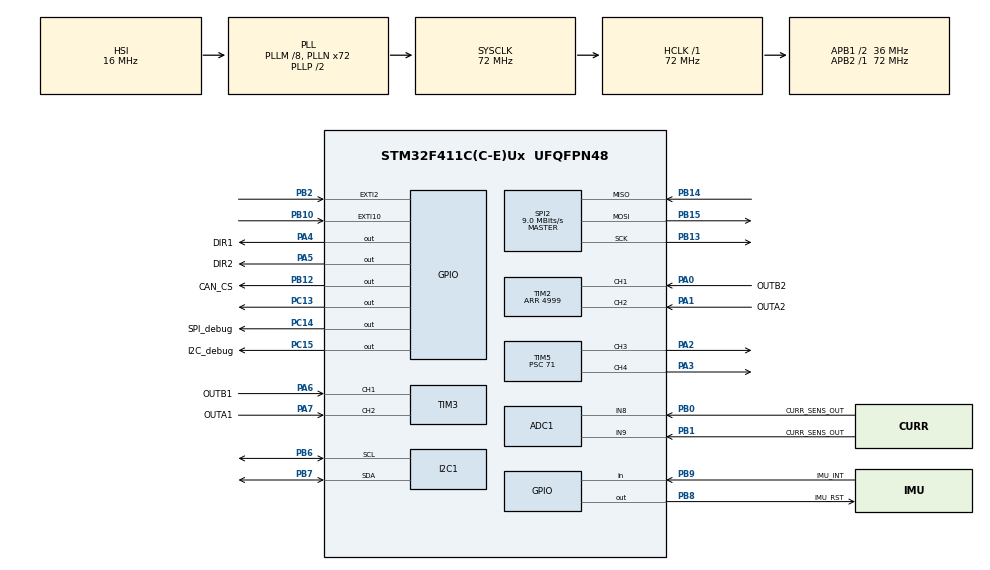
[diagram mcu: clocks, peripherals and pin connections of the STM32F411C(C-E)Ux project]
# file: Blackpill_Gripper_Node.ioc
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ADC1.Channel-0\#ChannelRegularConversion=ADC_CHANNEL_8
ADC1.Channel-1\#ChannelRegularConversion=ADC_CHANNEL_9
ADC1.ContinuousConvMode=ENABLE
ADC1.DMAContinuousRequests=ENABLE
ADC1.DiscontinuousConvMode=DISABLE
ADC1.NbrOfConversion=2
ADC1.NbrOfConversionFlag=1
ADC1.Rank-0\#ChannelRegularConversion=1
ADC1.Rank-1\#ChannelRegularConversion=2
ADC1.SamplingTime-0\#ChannelRegularConversion=ADC_SAMPLETIME_3CYCLES
ADC1.SamplingTime-1\#ChannelRegularConversion=ADC_SAMPLETIME_3CYCLES
ADC1.ScanConvMode=ENABLE
ADC1.master=1
Dma.ADC1.2.Direction=DMA_PERIPH_TO_MEMORY
Dma.ADC1.2.FIFOMode=DMA_FIFOMODE_DISABLE
Dma.ADC1.2.Instance=DMA2_Stream0
Dma.ADC1.2.MemDataAlignment=DMA_MDATAALIGN_HALFWORD
Dma.ADC1.2.MemInc=DMA_MINC_ENABLE
Dma.ADC1.2.Mode=DMA_CIRCULAR
Dma.ADC1.2.PeriphDataAlignment=DMA_PDATAALIGN_HALFWORD
Dma.ADC1.2.PeriphInc=DMA_PINC_DISABLE
Dma.ADC1.2.Priority=DMA_PRIORITY_LOW
Dma.I2C1_RX.0.Direction=DMA_PERIPH_TO_MEMORY
Dma.I2C1_RX.0.FIFOMode=DMA_FIFOMODE_DISABLE
Dma.I2C1_RX.0.Instance=DMA1_Stream0
Dma.I2C1_RX.0.MemDataAlignment=DMA_MDATAALIGN_BYTE
Dma.I2C1_RX.0.MemInc=DMA_MINC_ENABLE
Dma.I2C1_RX.0.Mode=DMA_NORMAL
Dma.I2C1_RX.0.PeriphDataAlignment=DMA_PDATAALIGN_BYTE
Dma.I2C1_RX.0.PeriphInc=DMA_PINC_DISABLE
Dma.I2C1_RX.0.Priority=DMA_PRIORITY_LOW
Dma.I2C1_TX.1.Direction=DMA_MEMORY_TO_PERIPH
Dma.I2C1_TX.1.FIFOMode=DMA_FIFOMODE_DISABLE
Dma.I2C1_TX.1.Instance=DMA1_Stream1
Dma.I2C1_TX.1.MemDataAlignment=DMA_MDATAALIGN_BYTE
Dma.I2C1_TX.1.MemInc=DMA_MINC_ENABLE
Dma.I2C1_TX.1.Mode=DMA_NORMAL
Dma.I2C1_TX.1.PeriphDataAlignment=DMA_PDATAALIGN_BYTE
Dma.I2C1_TX.1.PeriphInc=DMA_PINC_DISABLE
Dma.I2C1_TX.1.Priority=DMA_PRIORITY_LOW
Dma.Request0=I2C1_RX
Dma.Request1=I2C1_TX
Dma.Request2=ADC1
Mcu.Family=STM32F4
Mcu.Name=STM32F411C(C-E)Ux
Mcu.Package=UFQFPN48
NVIC.DMA1_Stream0_IRQn=true\:0\:0\:false\:false\:true\:false\:true\:true
NVIC.DMA1_Stream1_IRQn=true\:0\:0\:false\:false\:true\:false\:true\:true
NVIC.DMA2_Stream0_IRQn=true\:0\:0\:false\:false\:true\:false\:true\:true
NVIC.EXTI15_10_IRQn=true\:0\:0\:false\:false\:true\:true\:true\:true
NVIC.EXTI2_IRQn=true\:0\:0\:false\:false\:true\:true\:true\:true
NVIC.PriorityGroup=NVIC_PRIORITYGROUP_4
PA0-WKUP.GPIO_Label=OUTB2
PA0-WKUP.Signal=S_TIM2_CH1_ETR
PA1.GPIO_Label=OUTA2
PA1.Signal=S_TIM2_CH2
PA2.Signal=S_TIM5_CH3
PA3.Signal=S_TIM5_CH4
PA4.GPIO_Label=DIR1
PA4.Signal=GPIO_Output
PA5.GPIO_Label=DIR2
PA5.Signal=GPIO_Output
PA6.GPIO_Label=OUTB1
PA6.Signal=S_TIM3_CH1
PA7.GPIO_Label=OUTA1
PA7.Signal=S_TIM3_CH2
PB0.GPIO_Label=CURR_SENS_OUT
PB0.Signal=ADCx_IN8
PB1.GPIO_Label=CURR_SENS_OUT
PB1.Signal=ADCx_IN9
PB10.GPIO_ModeDefaultEXTI=GPIO_MODE_IT_RISING_FALLING
PB10.Signal=GPXTI10
PB12.GPIO_Label=CAN_CS
PB12.Signal=GPIO_Output
PB13.Mode=Full_Duplex_Master
PB13.Signal=SPI2_SCK
PB14.Mode=Full_Duplex_Master
PB14.Signal=SPI2_MISO
PB15.Mode=Full_Duplex_Master
PB15.Signal=SPI2_MOSI
PB2.GPIO_ModeDefaultEXTI=GPIO_MODE_IT_RISING_FALLING
PB2.Signal=GPXTI2
PB6.Mode=I2C
PB6.Signal=I2C1_SCL
PB7.Mode=I2C
PB7.Signal=I2C1_SDA
PB8.GPIO_Label=IMU_RST
PB8.Signal=GPIO_Output
PB9.GPIO_Label=IMU_INT
PB9.Signal=GPIO_Input
PC13-ANTI_TAMP.Signal=GPIO_Output
PC14-OSC32_IN.GPIO_Label=SPI_debug
PC14-OSC32_IN.Signal=GPIO_Output
PC15-OSC32_OUT.GPIO_Label=I2C_debug
PC15-OSC32_OUT.Signal=GPIO_Output
PH0\ -\ OSC_IN.Mode=HSE-External-Oscillator
PH0\ -\ OSC_IN.Signal=RCC_OSC_IN
PH1\ -\ OSC_OUT.Mode=HSE-External-Oscillator
PH1\ -\ OSC_OUT.Signal=RCC_OSC_OUT
ProjectManager.HeapSize=0x200
ProjectManager.StackSize=0x400
ProjectManager.TargetToolchain=STM32CubeIDE
RCC.48MHZClocksFreq_Value=36000000
RCC.AHBFreq_Value=72000000
RCC.APB1CLKDivider=RCC_HCLK_DIV2
RCC.APB1Freq_Value=36000000
RCC.APB1TimFreq_Value=72000000
RCC.APB2Freq_Value=72000000
RCC.APB2TimFreq_Value=72000000
RCC.CortexFreq_Value=72000000
RCC.HCLKFreq_Value=72000000
RCC.HSE_VALUE=25000000
RCC.HSI_VALUE=16000000
RCC.LSE_VALUE=32768
RCC.PLLM=8
RCC.PLLN=72
RCC.SYSCLKFreq_VALUE=72000000
RCC.SYSCLKSource=RCC_SYSCLKSOURCE_PLLCLK
RCC.VCOOutputFreq_Value=144000000
SH.ADCx_IN8.0=ADC1_IN8,IN8
SH.ADCx_IN9.0=ADC1_IN9,IN9
SH.S_TIM2_CH1_ETR.0=TIM2_CH1,Encoder_Interface
SH.S_TIM2_CH2.0=TIM2_CH2,Encoder_Interface
SH.S_TIM3_CH1.0=TIM3_CH1,Encoder_Interface
SH.S_TIM3_CH2.0=TIM3_CH2,Encoder_Interface
SH.S_TIM5_CH3.0=TIM5_CH3,PWM Generation3 CH3
SH.S_TIM5_CH4.0=TIM5_CH4,PWM Generation4 CH4
SPI2.BaudRatePrescaler=SPI_BAUDRATEPRESCALER_4
SPI2.CalculateBaudRate=9.0 MBits/s
SPI2.Direction=SPI_DIRECTION_2LINES
SPI2.Mode=SPI_MODE_MASTER
SPI2.VirtualType=VM_MASTER
TIM1.Prescaler=71
TIM2.Period=4999
TIM5.Channel-PWM\ Generation3\ CH3=TIM_CHANNEL_3
TIM5.Channel-PWM\ Generation4\ CH4=TIM_CHANNEL_4
TIM5.Period=999
TIM5.Prescaler=71
VP_TIM1_VS_ClockSourceINT.Mode=Internal
VP_TIM5_VS_ClockSourceINT.Mode=Internal
board=custom

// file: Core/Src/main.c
/* USER CODE BEGIN Header */
/**
  ******************************************************************************
  * @file           : main.c
  * @brief          : Main program body
  ******************************************************************************
  * @attention
  *
  * Copyright (c) 2026 STMicroelectronics.
  * All rights reserved.
  *
  * This software is licensed under terms that can be found in the LICENSE file
  * in the root directory of this software component.
  * If no LICENSE file comes with this software, it is provided AS-IS.
  *
  ******************************************************************************
  */
/* USER CODE END Header */
#include "main.h"

/* USER CODE BEGIN Includes */
#include <stdlib.h>
#include <stdio.h>
#include <string.h>
#include <stdbool.h>
/*
 * MCP2515-over-SPI2 driver, same library used by the rest of the rover's
 * CAN nodes. Provides uCAN_MSG, dSTANDARD_CAN_MSG_ID_2_0B, and
 * CANSPI_Initialize/Transmit/Receive().
 */
#include "CANSPI.h"
#include "MCP2515.h"
/* USER CODE END Includes */

/* USER CODE BEGIN PD */
/*
 * ---- CAN arbitration IDs ----
 * Same scheme as the other STM32 nodes: (node << 5) | msg, 5-bit msg type.
 * msg-type values are the wrist node's set.
 */
#define gripper 10

#define CAN_FAIL 10000

#define SENSOR_DATA   0b00010  /* SEND QUAD/CURRENT DATAS */
#define SENSORS_CHECK 0b11111  /* SENSOR CHECK AT BEGINNING */

#define HEARTBEAT     0b00000  /* HEARTBEAT RECEIVED */
#define HEARTBEATED   0b00001  /* HEARTBEAT SENT */

#define GRIPPER_PWM   0b10010  /* GRIPPER COMMAND TO BE RECEIVED */
#define START_NODE    0b10100  /* NODE START COMMAND */

#define MAKE_ARBITRATION_ID(node, msg) (((node) << 5) | (msg))

#define gripper_command_msg  MAKE_ARBITRATION_ID(gripper, GRIPPER_PWM)
#define sensor_data_msg      MAKE_ARBITRATION_ID(gripper, SENSOR_DATA)
#define heartbeat_msg        MAKE_ARBITRATION_ID(gripper, HEARTBEAT)
#define heartbeated_msg      MAKE_ARBITRATION_ID(gripper, HEARTBEATED)
#define start_node_msg       MAKE_ARBITRATION_ID(gripper, START_NODE)
#define sensor_check_msg     MAKE_ARBITRATION_ID(gripper, SENSORS_CHECK)

/* Watchdog: if this many main-loop iterations pass with no CAN frame
 * received at all, assume the bus/supervisor is gone, zero the outputs,
 * and require a fresh start_node handshake before actuating again. */
#define CAN_FAILED_THRESHOLD       CAN_FAIL

/* Sensor telemetry (GripperEncoders equivalent) broadcast period. */
#define SENSOR_BROADCAST_PERIOD_MS 50U

/* PWM: TIM5 CH3 (PA2, N20) as configured in the .ioc:
 * 72MHz APB1 timer clock, PSC=71 -> 1MHz (1us/tick), ARR=999 -> 1kHz.
 * Servo (PA3) runs on TIM9 CH2 (AF3), set up in Servo_Init(): 72MHz APB2
 * timer clock, PSC=71 -> 1us/tick, ARR=19999 -> 50Hz, pulse 1000-2000us.
 */
#define PWM_PERIOD_TICKS           1000U  /* ARR+1 */
#define SERVO_MIN_US               1000U
#define SERVO_MAX_US               2000U
#define SERVO_PERIOD_TICKS         20000U /* ARR+1, 50Hz at 1us/tick */
/* USER CODE END PD */

ADC_HandleTypeDef hadc1;
DMA_HandleTypeDef hdma_adc1;

I2C_HandleTypeDef hi2c1;
DMA_HandleTypeDef hdma_i2c1_rx;
DMA_HandleTypeDef hdma_i2c1_tx;

SPI_HandleTypeDef hspi2;

TIM_HandleTypeDef htim1;
TIM_HandleTypeDef htim2;
TIM_HandleTypeDef htim3;
TIM_HandleTypeDef htim5;

/* USER CODE BEGIN PV */
/*
 * Gripper CAN protocol (matches gripperrr.py's GripperPositionCommand /
 * GripperEncoders exactly):
 *
 * ROS -> STM32 (gripper_command_msg, dlc=2 or 3):
 *   data0 = dcm1  N20 motor command, 0-255 raw byte  -> TIM5_CH3 (PA2)
 *   data1 = dcm2  Servo command,     0-255 raw byte  -> TIM9_CH2 (PA3), 1-2ms pulse at 50Hz
 *   data2 = N20 direction, optional (dlc>=3): 0 = forward, non-zero = reverse -> DIR1 (PA4).
 *           With dlc=2 the direction stays forward (0).
 *
 * STM32 -> ROS (sensor_data_msg, dlc=5, every SENSOR_BROADCAST_PERIOD_MS):
 *   data0 = quad_1     TIM2 quadrature encoder (PA0/PA1), low byte of count
 *   data1 = quad_2     TIM3 quadrature encoder (PA6/PA7), low byte of count
 *   data2 = acs_1      ADC1 ch8 (PB0) current sensor, low byte (12-bit)
 *   data3 = acs_2      ADC1 ch9 (PB1) current sensor, low byte (12-bit)
 *   data4 = up_check   always 0 - no discrete status/limit-switch bits
 *                      are defined for this node
 */
volatile uint8_t dcm1 = 0;    /* N20 motor command, 0-255 */
volatile uint8_t dcm2 = 128;  /* Servo command, 0-255, ~center on boot */

volatile uint16_t adc_buf[2];

uCAN_MSG rx;
uCAN_MSG tx_heartbeat;
uCAN_MSG tx_sensor;

volatile bool beat_pls = false;
volatile uint8_t heartbeater = 0;

volatile bool start_node = false;
volatile bool start_node_init = false;
volatile uint32_t CAN_failed_counter = 0;

bool CAN_checker = false;
uint32_t lastSensorBroadcastTick = 0;

TIM_HandleTypeDef htim9;       /* servo, TIM9 CH2 on PA3 */
static uint8_t n20_dir = 0;    /* current N20 direction, mirrors PA4 */
/* USER CODE END PV */

void SystemClock_Config(void);
static void MX_GPIO_Init(void);
static void MX_DMA_Init(void);
static void MX_ADC1_Init(void);
static void MX_I2C1_Init(void);
static void MX_SPI2_Init(void);
static void MX_TIM2_Init(void);
static void MX_TIM3_Init(void);
static void MX_TIM5_Init(void);
static void MX_TIM1_Init(void);
/* USER CODE BEGIN PFP */
static void CAN_Heartbeat(void);
static void CAN_Send_SensorData(void);
static void CAN_Send_SensorCheck(void);
static uint16_t cast_to_arbid(uint16_t id);
static void delay_us(uint16_t us);
static void ApplyGripperCommand(uint8_t motorByte, uint8_t servoByte, uint8_t dir);
static void Servo_Init(void);
/* USER CODE END PFP */

int main(void)
{

  /* MCU Configuration--------------------------------------------------------*/

  /* Reset of all peripherals, Initializes the Flash interface and the Systick. */
  HAL_Init();

  /* Configure the system clock */
  SystemClock_Config();

  /* Initialize all configured peripherals */
  MX_GPIO_Init();
  MX_DMA_Init();
  MX_ADC1_Init();
  MX_I2C1_Init();
  MX_SPI2_Init();
  MX_TIM2_Init();
  MX_TIM3_Init();
  MX_TIM5_Init();
  MX_TIM1_Init();
  /* USER CODE BEGIN 2 */
  HAL_TIM_Base_Start(&htim1);                 /* free-running us tick for delay_us() */

  HAL_TIM_PWM_Start(&htim5, TIM_CHANNEL_3);   /* PWM_N20  */
  Servo_Init();                               /* PWM_SERVO on TIM9 CH2 (PA3), 50Hz */
  HAL_TIM_Encoder_Start(&htim2, TIM_CHANNEL_ALL);
  HAL_TIM_Encoder_Start(&htim3, TIM_CHANNEL_ALL);

  /* Boot-time CAN init, with a PC13 (onboard BlackPill LED) blink so a
   * failure is visible without a debugger attached. */
  HAL_GPIO_WritePin(GPIOC, GPIO_PIN_13, GPIO_PIN_RESET);
  HAL_Delay(100);
  HAL_GPIO_WritePin(GPIOC, GPIO_PIN_13, GPIO_PIN_SET);
  HAL_Delay(100);

  CAN_checker = CANSPI_Initialize();

  HAL_GPIO_WritePin(GPIOC, GPIO_PIN_13, GPIO_PIN_RESET);
  HAL_Delay(100);
  HAL_GPIO_WritePin(GPIOC, GPIO_PIN_13, GPIO_PIN_SET);
  HAL_Delay(100);

  HAL_ADC_Start_DMA(&hadc1, (uint32_t*)adc_buf, 2);
  __HAL_DMA_DISABLE_IT(hadc1.DMA_Handle, DMA_IT_TC | DMA_IT_HT | DMA_IT_TE);

  lastSensorBroadcastTick = HAL_GetTick();
  /* USER CODE END 2 */

  /* Infinite loop */
  while (1)
  {

    /* USER CODE BEGIN 3 */

    /* ---- CAN watchdog: silent bus/supervisor -> fail safe ---- */
    if (CAN_failed_counter >= CAN_FAILED_THRESHOLD)
    {
      __HAL_TIM_SET_COMPARE(&htim5, TIM_CHANNEL_3, 0);
      __HAL_TIM_SET_COMPARE(&htim9, TIM_CHANNEL_2, 0);
      HAL_GPIO_WritePin(GPIOA, GPIO_PIN_4, GPIO_PIN_RESET);
      HAL_GPIO_WritePin(GPIOA, GPIO_PIN_5, GPIO_PIN_RESET);
      n20_dir = 0;
      dcm1 = 0;
      start_node = false;
    }

    /* ---- start_node handshake ----
     * Block here (blinking PC13) until the supervisor sends start_node_msg,
     * or answer sensor_check_msg while waiting. */
    if (!start_node)
    {
      HAL_Delay(500);
      HAL_GPIO_WritePin(GPIOC, GPIO_PIN_13, GPIO_PIN_RESET);
      HAL_Delay(100);
      HAL_GPIO_WritePin(GPIOC, GPIO_PIN_13, GPIO_PIN_SET);
      HAL_Delay(100);
      while (!CANSPI_Receive(&rx)) {}
      if (cast_to_arbid(rx.frame.id) == start_node_msg)
      {
        HAL_GPIO_WritePin(GPIOC, GPIO_PIN_13, GPIO_PIN_RESET);
        HAL_Delay(100);
        HAL_GPIO_WritePin(GPIOC, GPIO_PIN_13, GPIO_PIN_SET);
        HAL_Delay(100);
        start_node = true;
        start_node_init = true;
        delay_us(50);
      }
      else if (cast_to_arbid(rx.frame.id) == sensor_check_msg)
      {
        CAN_Send_SensorCheck();
      }
      else if (start_node_init)
      {
        start_node = true;
      }
    }

    /* ---- periodic sensor telemetry (GripperEncoders source) ---- */
    if (start_node && (HAL_GetTick() - lastSensorBroadcastTick) >= SENSOR_BROADCAST_PERIOD_MS)
    {
      lastSensorBroadcastTick = HAL_GetTick();
      CAN_Send_SensorData();
    }

    /* ---- normal-operation CAN receive dispatch ---- */
    if (CANSPI_Receive(&rx))
    {
      CAN_failed_counter = 0;

      if (start_node && cast_to_arbid(rx.frame.id) == gripper_command_msg)
      {
        ApplyGripperCommand(rx.frame.data0, rx.frame.data1,
                            (rx.frame.dlc >= 3 && rx.frame.data2) ? 1 : 0);
      }
      else if (cast_to_arbid(rx.frame.id) == heartbeat_msg)
      {
        /* Echo a heartbeat derived from the supervisor's ping. */
        heartbeater = rx.frame.data0 + rx.frame.data1;
        beat_pls = true;
        CAN_Heartbeat();
      }
    }

    CAN_failed_counter++;
    delay_us(100);
  }
  /* USER CODE END 3 */
}

void SystemClock_Config(void)
{
  RCC_OscInitTypeDef RCC_OscInitStruct = {0};
  RCC_ClkInitTypeDef RCC_ClkInitStruct = {0};

  /** Configure the main internal regulator output voltage
  */
  __HAL_RCC_PWR_CLK_ENABLE();
  __HAL_PWR_VOLTAGESCALING_CONFIG(PWR_REGULATOR_VOLTAGE_SCALE1);

  /** Initializes the RCC Oscillators according to the specified parameters
  * in the RCC_OscInitTypeDef structure.
  */
  RCC_OscInitStruct.OscillatorType = RCC_OSCILLATORTYPE_HSI;
  RCC_OscInitStruct.HSIState = RCC_HSI_ON;
  RCC_OscInitStruct.HSICalibrationValue = RCC_HSICALIBRATION_DEFAULT;
  RCC_OscInitStruct.PLL.PLLState = RCC_PLL_ON;
  RCC_OscInitStruct.PLL.PLLSource = RCC_PLLSOURCE_HSI;
  RCC_OscInitStruct.PLL.PLLM = 8;
  RCC_OscInitStruct.PLL.PLLN = 72;
  RCC_OscInitStruct.PLL.PLLP = RCC_PLLP_DIV2;
  RCC_OscInitStruct.PLL.PLLQ = 4;
  if (HAL_RCC_OscConfig(&RCC_OscInitStruct) != HAL_OK)
  {
    Error_Handler();
  }

  /** Initializes the CPU, AHB and APB buses clocks
  */
  RCC_ClkInitStruct.ClockType = RCC_CLOCKTYPE_HCLK|RCC_CLOCKTYPE_SYSCLK
                              |RCC_CLOCKTYPE_PCLK1|RCC_CLOCKTYPE_PCLK2;
  RCC_ClkInitStruct.SYSCLKSource = RCC_SYSCLKSOURCE_PLLCLK;
  RCC_ClkInitStruct.AHBCLKDivider = RCC_SYSCLK_DIV1;
  RCC_ClkInitStruct.APB1CLKDivider = RCC_HCLK_DIV2;
  RCC_ClkInitStruct.APB2CLKDivider = RCC_HCLK_DIV1;

  if (HAL_RCC_ClockConfig(&RCC_ClkInitStruct, FLASH_LATENCY_2) != HAL_OK)
  {
    Error_Handler();
  }
}

static void MX_ADC1_Init(void)
{

  ADC_ChannelConfTypeDef sConfig = {0};

  /** Configure the global features of the ADC (Clock, Resolution, Data Alignment and number of conversion)
  */
  hadc1.Instance = ADC1;
  hadc1.Init.ClockPrescaler = ADC_CLOCK_SYNC_PCLK_DIV2;
  hadc1.Init.Resolution = ADC_RESOLUTION_12B;
  hadc1.Init.ScanConvMode = ENABLE;
  hadc1.Init.ContinuousConvMode = ENABLE;
  hadc1.Init.DiscontinuousConvMode = DISABLE;
  hadc1.Init.ExternalTrigConvEdge = ADC_EXTERNALTRIGCONVEDGE_NONE;
  hadc1.Init.ExternalTrigConv = ADC_SOFTWARE_START;
  hadc1.Init.DataAlign = ADC_DATAALIGN_RIGHT;
  hadc1.Init.NbrOfConversion = 2;
  hadc1.Init.DMAContinuousRequests = ENABLE;
  hadc1.Init.EOCSelection = ADC_EOC_SINGLE_CONV;
  if (HAL_ADC_Init(&hadc1) != HAL_OK)
  {
    Error_Handler();
  }

  /** Configure for the selected ADC regular channel its corresponding rank in the sequencer and its sample time.
  */
  sConfig.Channel = ADC_CHANNEL_8;
  sConfig.Rank = 1;
  sConfig.SamplingTime = ADC_SAMPLETIME_3CYCLES;
  if (HAL_ADC_ConfigChannel(&hadc1, &sConfig) != HAL_OK)
  {
    Error_Handler();
  }

  /** Configure for the selected ADC regular channel its corresponding rank in the sequencer and its sample time.
  */
  sConfig.Channel = ADC_CHANNEL_9;
  sConfig.Rank = 2;
  if (HAL_ADC_ConfigChannel(&hadc1, &sConfig) != HAL_OK)
  {
    Error_Handler();
  }

}

static void MX_I2C1_Init(void)
{

  hi2c1.Instance = I2C1;
  hi2c1.Init.ClockSpeed = 100000;
  hi2c1.Init.DutyCycle = I2C_DUTYCYCLE_2;
  hi2c1.Init.OwnAddress1 = 0;
  hi2c1.Init.AddressingMode = I2C_ADDRESSINGMODE_7BIT;
  hi2c1.Init.DualAddressMode = I2C_DUALADDRESS_DISABLE;
  hi2c1.Init.OwnAddress2 = 0;
  hi2c1.Init.GeneralCallMode = I2C_GENERALCALL_DISABLE;
  hi2c1.Init.NoStretchMode = I2C_NOSTRETCH_DISABLE;
  if (HAL_I2C_Init(&hi2c1) != HAL_OK)
  {
    Error_Handler();
  }

}

static void MX_SPI2_Init(void)
{

  /* SPI2 parameter configuration*/
  hspi2.Instance = SPI2;
  hspi2.Init.Mode = SPI_MODE_MASTER;
  hspi2.Init.Direction = SPI_DIRECTION_2LINES;
  hspi2.Init.DataSize = SPI_DATASIZE_8BIT;
  hspi2.Init.CLKPolarity = SPI_POLARITY_LOW;
  hspi2.Init.CLKPhase = SPI_PHASE_1EDGE;
  hspi2.Init.NSS = SPI_NSS_SOFT;
  hspi2.Init.BaudRatePrescaler = SPI_BAUDRATEPRESCALER_4;
  hspi2.Init.FirstBit = SPI_FIRSTBIT_MSB;
  hspi2.Init.TIMode = SPI_TIMODE_DISABLE;
  hspi2.Init.CRCCalculation = SPI_CRCCALCULATION_DISABLE;
  hspi2.Init.CRCPolynomial = 10;
  if (HAL_SPI_Init(&hspi2) != HAL_OK)
  {
    Error_Handler();
  }

}

static void MX_TIM1_Init(void)
{

  TIM_ClockConfigTypeDef sClockSourceConfig = {0};
  TIM_MasterConfigTypeDef sMasterConfig = {0};

  htim1.Instance = TIM1;
  htim1.Init.Prescaler = 71;
  htim1.Init.CounterMode = TIM_COUNTERMODE_UP;
  htim1.Init.Period = 65535;
  htim1.Init.ClockDivision = TIM_CLOCKDIVISION_DIV1;
  htim1.Init.RepetitionCounter = 0;
  htim1.Init.AutoReloadPreload = TIM_AUTORELOAD_PRELOAD_DISABLE;
  if (HAL_TIM_Base_Init(&htim1) != HAL_OK)
  {
    Error_Handler();
  }
  sClockSourceConfig.ClockSource = TIM_CLOCKSOURCE_INTERNAL;
  if (HAL_TIM_ConfigClockSource(&htim1, &sClockSourceConfig) != HAL_OK)
  {
    Error_Handler();
  }
  sMasterConfig.MasterOutputTrigger = TIM_TRGO_RESET;
  sMasterConfig.MasterSlaveMode = TIM_MASTERSLAVEMODE_DISABLE;
  if (HAL_TIMEx_MasterConfigSynchronization(&htim1, &sMasterConfig) != HAL_OK)
  {
    Error_Handler();
  }

}

static void MX_TIM2_Init(void)
{

  TIM_Encoder_InitTypeDef sConfig = {0};
  TIM_MasterConfigTypeDef sMasterConfig = {0};

  htim2.Instance = TIM2;
  htim2.Init.Prescaler = 0;
  htim2.Init.CounterMode = TIM_COUNTERMODE_UP;
  htim2.Init.Period = 4999;
  htim2.Init.ClockDivision = TIM_CLOCKDIVISION_DIV1;
  htim2.Init.AutoReloadPreload = TIM_AUTORELOAD_PRELOAD_DISABLE;
  sConfig.EncoderMode = TIM_ENCODERMODE_TI1;
  sConfig.IC1Polarity = TIM_ICPOLARITY_RISING;
  sConfig.IC1Selection = TIM_ICSELECTION_DIRECTTI;
  sConfig.IC1Prescaler = TIM_ICPSC_DIV1;
  sConfig.IC1Filter = 0;
  sConfig.IC2Polarity = TIM_ICPOLARITY_RISING;
  sConfig.IC2Selection = TIM_ICSELECTION_DIRECTTI;
  sConfig.IC2Prescaler = TIM_ICPSC_DIV1;
  sConfig.IC2Filter = 0;
  if (HAL_TIM_Encoder_Init(&htim2, &sConfig) != HAL_OK)
  {
    Error_Handler();
  }
  sMasterConfig.MasterOutputTrigger = TIM_TRGO_RESET;
  sMasterConfig.MasterSlaveMode = TIM_MASTERSLAVEMODE_DISABLE;
  if (HAL_TIMEx_MasterConfigSynchronization(&htim2, &sMasterConfig) != HAL_OK)
  {
    Error_Handler();
  }

}

static void MX_TIM3_Init(void)
{

  TIM_Encoder_InitTypeDef sConfig = {0};
  TIM_MasterConfigTypeDef sMasterConfig = {0};

  htim3.Instance = TIM3;
  htim3.Init.Prescaler = 0;
  htim3.Init.CounterMode = TIM_COUNTERMODE_UP;
  htim3.Init.Period = 65535;
  htim3.Init.ClockDivision = TIM_CLOCKDIVISION_DIV1;
  htim3.Init.AutoReloadPreload = TIM_AUTORELOAD_PRELOAD_DISABLE;
  sConfig.EncoderMode = TIM_ENCODERMODE_TI1;
  sConfig.IC1Polarity = TIM_ICPOLARITY_RISING;
  sConfig.IC1Selection = TIM_ICSELECTION_DIRECTTI;
  sConfig.IC1Prescaler = TIM_ICPSC_DIV1;
  sConfig.IC1Filter = 0;
  sConfig.IC2Polarity = TIM_ICPOLARITY_RISING;
  sConfig.IC2Selection = TIM_ICSELECTION_DIRECTTI;
  sConfig.IC2Prescaler = TIM_ICPSC_DIV1;
  sConfig.IC2Filter = 0;
  if (HAL_TIM_Encoder_Init(&htim3, &sConfig) != HAL_OK)
  {
    Error_Handler();
  }
  sMasterConfig.MasterOutputTrigger = TIM_TRGO_RESET;
  sMasterConfig.MasterSlaveMode = TIM_MASTERSLAVEMODE_DISABLE;
  if (HAL_TIMEx_MasterConfigSynchronization(&htim3, &sMasterConfig) != HAL_OK)
  {
    Error_Handler();
  }

}

static void MX_TIM5_Init(void)
{

  TIM_ClockConfigTypeDef sClockSourceConfig = {0};
  TIM_MasterConfigTypeDef sMasterConfig = {0};
  TIM_OC_InitTypeDef sConfigOC = {0};

  htim5.Instance = TIM5;
  htim5.Init.Prescaler = 71;
  htim5.Init.CounterMode = TIM_COUNTERMODE_UP;
  htim5.Init.Period = 999;
  htim5.Init.ClockDivision = TIM_CLOCKDIVISION_DIV1;
  htim5.Init.AutoReloadPreload = TIM_AUTORELOAD_PRELOAD_DISABLE;
  if (HAL_TIM_Base_Init(&htim5) != HAL_OK)
  {
    Error_Handler();
  }
  sClockSourceConfig.ClockSource = TIM_CLOCKSOURCE_INTERNAL;
  if (HAL_TIM_ConfigClockSource(&htim5, &sClockSourceConfig) != HAL_OK)
  {
    Error_Handler();
  }
  if (HAL_TIM_PWM_Init(&htim5) != HAL_OK)
  {
    Error_Handler();
  }
  sMasterConfig.MasterOutputTrigger = TIM_TRGO_RESET;
  sMasterConfig.MasterSlaveMode = TIM_MASTERSLAVEMODE_DISABLE;
  if (HAL_TIMEx_MasterConfigSynchronization(&htim5, &sMasterConfig) != HAL_OK)
  {
    Error_Handler();
  }
  sConfigOC.OCMode = TIM_OCMODE_PWM1;
  sConfigOC.Pulse = 0;
  sConfigOC.OCPolarity = TIM_OCPOLARITY_HIGH;
  sConfigOC.OCFastMode = TIM_OCFAST_DISABLE;
  if (HAL_TIM_PWM_ConfigChannel(&htim5, &sConfigOC, TIM_CHANNEL_3) != HAL_OK)
  {
    Error_Handler();
  }
  if (HAL_TIM_PWM_ConfigChannel(&htim5, &sConfigOC, TIM_CHANNEL_4) != HAL_OK)
  {
    Error_Handler();
  }
  HAL_TIM_MspPostInit(&htim5);

}

static void MX_DMA_Init(void)
{

  /* DMA controller clock enable */
  __HAL_RCC_DMA1_CLK_ENABLE();
  __HAL_RCC_DMA2_CLK_ENABLE();

  /* DMA interrupt init */
  /* DMA1_Stream0_IRQn interrupt configuration */
  HAL_NVIC_SetPriority(DMA1_Stream0_IRQn, 0, 0);
  HAL_NVIC_EnableIRQ(DMA1_Stream0_IRQn);
  /* DMA1_Stream1_IRQn interrupt configuration */
  HAL_NVIC_SetPriority(DMA1_Stream1_IRQn, 0, 0);
  HAL_NVIC_EnableIRQ(DMA1_Stream1_IRQn);
  /* DMA2_Stream0_IRQn interrupt configuration */
  HAL_NVIC_SetPriority(DMA2_Stream0_IRQn, 0, 0);
  HAL_NVIC_EnableIRQ(DMA2_Stream0_IRQn);

}

static void MX_GPIO_Init(void)
{
  GPIO_InitTypeDef GPIO_InitStruct = {0};

  /* GPIO Ports Clock Enable */
  __HAL_RCC_GPIOC_CLK_ENABLE();
  __HAL_RCC_GPIOH_CLK_ENABLE();
  __HAL_RCC_GPIOA_CLK_ENABLE();
  __HAL_RCC_GPIOB_CLK_ENABLE();

  /*Configure GPIO pin Output Level */
  HAL_GPIO_WritePin(GPIOC, GPIO_PIN_13|SPI_debug_Pin|I2C_debug_Pin, GPIO_PIN_RESET);

  /*Configure GPIO pin Output Level */
  HAL_GPIO_WritePin(GPIOA, DIR1_Pin|DIR2_Pin, GPIO_PIN_RESET);

  /*Configure GPIO pin Output Level */
  HAL_GPIO_WritePin(GPIOB, CAN_CS_Pin|IMU_RST_Pin, GPIO_PIN_RESET);

  /*Configure GPIO pins : PC13 SPI_debug_Pin I2C_debug_Pin */
  GPIO_InitStruct.Pin = GPIO_PIN_13|SPI_debug_Pin|I2C_debug_Pin;
  GPIO_InitStruct.Mode = GPIO_MODE_OUTPUT_PP;
  GPIO_InitStruct.Pull = GPIO_NOPULL;
  GPIO_InitStruct.Speed = GPIO_SPEED_FREQ_LOW;
  HAL_GPIO_Init(GPIOC, &GPIO_InitStruct);

  /*Configure GPIO pins : DIR1_Pin DIR2_Pin */
  GPIO_InitStruct.Pin = DIR1_Pin|DIR2_Pin;
  GPIO_InitStruct.Mode = GPIO_MODE_OUTPUT_PP;
  GPIO_InitStruct.Pull = GPIO_NOPULL;
  GPIO_InitStruct.Speed = GPIO_SPEED_FREQ_LOW;
  HAL_GPIO_Init(GPIOA, &GPIO_InitStruct);

  /*Configure GPIO pins : PB2 PB10 */
  GPIO_InitStruct.Pin = GPIO_PIN_2|GPIO_PIN_10;
  GPIO_InitStruct.Mode = GPIO_MODE_IT_RISING_FALLING;
  GPIO_InitStruct.Pull = GPIO_NOPULL;
  HAL_GPIO_Init(GPIOB, &GPIO_InitStruct);

  /*Configure GPIO pins : CAN_CS_Pin IMU_RST_Pin */
  GPIO_InitStruct.Pin = CAN_CS_Pin|IMU_RST_Pin;
  GPIO_InitStruct.Mode = GPIO_MODE_OUTPUT_PP;
  GPIO_InitStruct.Pull = GPIO_NOPULL;
  GPIO_InitStruct.Speed = GPIO_SPEED_FREQ_LOW;
  HAL_GPIO_Init(GPIOB, &GPIO_InitStruct);

  /*Configure GPIO pin : IMU_INT_Pin */
  GPIO_InitStruct.Pin = IMU_INT_Pin;
  GPIO_InitStruct.Mode = GPIO_MODE_INPUT;
  GPIO_InitStruct.Pull = GPIO_NOPULL;
  HAL_GPIO_Init(IMU_INT_GPIO_Port, &GPIO_InitStruct);

  /* EXTI interrupt init*/
  HAL_NVIC_SetPriority(EXTI2_IRQn, 0, 0);
  HAL_NVIC_EnableIRQ(EXTI2_IRQn);

  HAL_NVIC_SetPriority(EXTI15_10_IRQn, 0, 0);
  HAL_NVIC_EnableIRQ(EXTI15_10_IRQn);

}

/* USER CODE BEGIN 4 */

/**
  * @brief  Sets up the servo output: TIM9 CH2 on PA3 (AF3), 50Hz, 1us/tick.
  *         Runs after MX_TIM5_Init(), so it takes PA3 over from TIM5 CH4.
  *         Pulse starts at 0 (no signal) until the first command.
  */
static void Servo_Init(void)
{
  TIM_OC_InitTypeDef sConfigOC = {0};
  GPIO_InitTypeDef GPIO_InitStruct = {0};

  __HAL_RCC_TIM9_CLK_ENABLE();
  __HAL_RCC_GPIOA_CLK_ENABLE();

  htim9.Instance = TIM9;
  htim9.Init.Prescaler = 71;
  htim9.Init.CounterMode = TIM_COUNTERMODE_UP;
  htim9.Init.Period = SERVO_PERIOD_TICKS - 1U;
  htim9.Init.ClockDivision = TIM_CLOCKDIVISION_DIV1;
  htim9.Init.AutoReloadPreload = TIM_AUTORELOAD_PRELOAD_DISABLE;
  if (HAL_TIM_PWM_Init(&htim9) != HAL_OK)
  {
    Error_Handler();
  }

  sConfigOC.OCMode = TIM_OCMODE_PWM1;
  sConfigOC.Pulse = 0;
  sConfigOC.OCPolarity = TIM_OCPOLARITY_HIGH;
  sConfigOC.OCFastMode = TIM_OCFAST_DISABLE;
  if (HAL_TIM_PWM_ConfigChannel(&htim9, &sConfigOC, TIM_CHANNEL_2) != HAL_OK)
  {
    Error_Handler();
  }

  GPIO_InitStruct.Pin = GPIO_PIN_3;
  GPIO_InitStruct.Mode = GPIO_MODE_AF_PP;
  GPIO_InitStruct.Pull = GPIO_NOPULL;
  GPIO_InitStruct.Speed = GPIO_SPEED_FREQ_LOW;
  GPIO_InitStruct.Alternate = GPIO_AF3_TIM9;
  HAL_GPIO_Init(GPIOA, &GPIO_InitStruct);

  if (HAL_TIM_PWM_Start(&htim9, TIM_CHANNEL_2) != HAL_OK)
  {
    Error_Handler();
  }
}

/**
  * @brief  Applies an inbound gripper_command_msg. motorByte/servoByte are
  *         raw 0-255 CAN payload bytes (gripperrr.py's dcm1/dcm2): the N20
  *         byte is scaled to 0..ARR on TIM5 CH3, the servo byte to a
  *         SERVO_MIN_US..SERVO_MAX_US pulse on TIM9 CH2. dir is the N20
  *         direction (0 forward, 1 reverse); on a change the PWM is zeroed
  *         first so the motor never reverses under duty.
  */
static void ApplyGripperCommand(uint8_t motorByte, uint8_t servoByte, uint8_t dir)
{
  dcm1 = motorByte;
  dcm2 = servoByte;

  if (dir != n20_dir)
  {
    __HAL_TIM_SET_COMPARE(&htim5, TIM_CHANNEL_3, 0);
    HAL_GPIO_WritePin(GPIOA, GPIO_PIN_4, dir ? GPIO_PIN_SET : GPIO_PIN_RESET);
    n20_dir = dir;
  }

  uint32_t n20Compare = ((uint32_t)dcm1 * (PWM_PERIOD_TICKS - 1)) / 255U;
  __HAL_TIM_SET_COMPARE(&htim5, TIM_CHANNEL_3, n20Compare);

  uint32_t servoUs = SERVO_MIN_US + ((uint32_t)dcm2 * (SERVO_MAX_US - SERVO_MIN_US)) / 255U;
  __HAL_TIM_SET_COMPARE(&htim9, TIM_CHANNEL_2, servoUs);
}

/**
  * @brief  Broadcasts current encoder/current-sense readings as a
  *         sensor_data_msg CAN frame (GripperEncoders source).
  */
static void CAN_Send_SensorData(void)
{
  uint32_t quad1 = __HAL_TIM_GET_COUNTER(&htim2);
  uint32_t quad2 = __HAL_TIM_GET_COUNTER(&htim3);

  tx_sensor.frame.idType = dSTANDARD_CAN_MSG_ID_2_0B;
  tx_sensor.frame.id = sensor_data_msg;
  tx_sensor.frame.dlc = 5;
  tx_sensor.frame.data0 = (uint8_t)(quad1 & 0xFFU);
  tx_sensor.frame.data1 = (uint8_t)(quad2 & 0xFFU);
  tx_sensor.frame.data2 = (uint8_t)(adc_buf[0] & 0xFFU);
  tx_sensor.frame.data3 = (uint8_t)(adc_buf[1] & 0xFFU);
  tx_sensor.frame.data4 = 0;                 /* up_check - no status bits defined */
  CANSPI_Transmit(&tx_sensor);
}

/**
  * @brief  Replies to a sensor_check_msg received while still waiting on
  *         the start_node handshake, by reporting current sensor values.
  */
static void CAN_Send_SensorCheck(void)
{
  CAN_Send_SensorData();
}

/**
  * @brief  Sends the current heartbeat frame if one is pending.
  */
static void CAN_Heartbeat(void)
{
  if (beat_pls)
  {
    tx_heartbeat.frame.idType = dSTANDARD_CAN_MSG_ID_2_0B;
    tx_heartbeat.frame.id = heartbeated_msg;
    tx_heartbeat.frame.dlc = 1;
    tx_heartbeat.frame.data0 = heartbeater;
    beat_pls = false;
    CANSPI_Transmit(&tx_heartbeat);
  }
}

/**
  * @brief  Masks a composed id down to the 11-bit standard CAN ID range.
  */
static uint16_t cast_to_arbid(uint16_t id)
{
  return (id & 0x7FFU);
}

/**
  * @brief  Busy-wait microsecond delay using TIM1 as a free-running
  *         1us-tick counter.
  */
static void delay_us(uint16_t us)
{
  __HAL_TIM_SET_COUNTER(&htim1, 0);
  while (__HAL_TIM_GET_COUNTER(&htim1) < us) {}
}

/* USER CODE END 4 */

void Error_Handler(void)
{
  __disable_irq();
  while (1)
  {
  }
}
